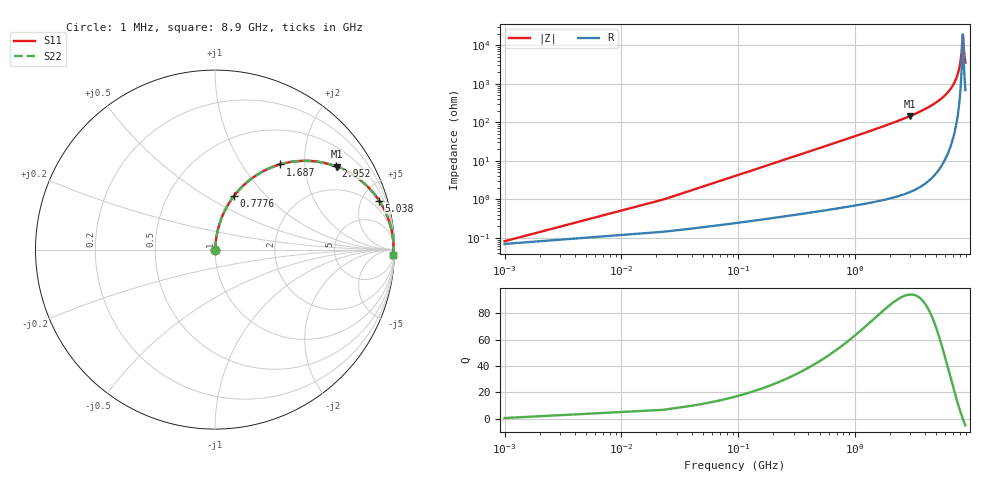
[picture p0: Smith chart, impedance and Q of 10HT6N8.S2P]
! Coilcraft 1008HT-6N8 Chip Inductor
! 16 July 2002
# MHZ S MA R 50
!Freq  MagS11  AngS11  MagS21  AngS21  MagS12  AngS12  MagS22  AngS22
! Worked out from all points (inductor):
!   403 points, 1 MHz to 8.9 GHz, reference 50 ohm
!   read as one part in series: L = 6.8 nH near 45.38 MHz
!   highest Q = 94.1 at 2.997 GHz (marker M1), where L = 7.77 nH
!   self-resonance near 8.455 GHz
!   S11 on the Smith chart (normalised r, x): 1 MHz: 1.00, +0.00; 777.6 MHz: 1.01, +0.67; 1.687 GHz: 1.02, +1.50; 2.952 GHz: 1.03, +2.87; 5.038 GHz: 1.10, +6.67; 8.9 GHz: 15, -69
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1  0.0008161 31.5  0.9993 -0.0  0.9993 -0.0  0.0008161 31.5
67.57  0.02888 84.2  0.9975 -1.7  0.9975 -1.7  0.02888 84.2
111.95  0.04773 84.2  0.9963 -2.7  0.9963 -2.7  0.04773 84.2
156.33  0.06654 83.7  0.9949 -3.8  0.9949 -3.8  0.06654 83.7
378.23  0.1592 79.3  0.983 -9.2  0.983 -9.2  0.1592 79.3
777.65  0.3161 70.5  0.943 -18.4  0.943 -18.4  0.3161 70.5
1487.73  0.5452 56.2  0.8312 -33.0  0.8312 -33.0  0.5452 56.2
1687.44  0.5969 52.6  0.7949 -36.6  0.7949 -36.6  0.5969 52.6
2952.27  0.8166 34.7  0.5686 -54.7  0.5686 -54.7  0.8166 34.7
2974.46  0.8192 34.4  0.5649 -55.0  0.5649 -55.0  0.8192 34.4
2996.65  0.8217 34.1  0.5613 -55.2  0.5613 -55.2  0.8217 34.1
4461.19  0.9313 20.7  0.3529 -68.6  0.3529 -68.6  0.9313 20.7
5038.13  0.954 16.6  0.2862 -72.5  0.2862 -72.5  0.954 16.6
5947.92  0.9767 11.2  0.1946 -77.6  0.1946 -77.6  0.9767 11.2
7434.65  0.9929 4.1  0.07156 -82.2  0.07156 -82.2  0.9929 4.1
7811.88  0.9942 2.5  0.04441 -81.3  0.04441 -81.3  0.9942 2.5
8078.16  0.9947 1.5  0.02617 -77.7  0.02617 -77.7  0.9947 1.5
8233.49  0.9949 0.9  0.01603 -70.8  0.01603 -70.8  0.9949 0.9
8455.39  0.9948 0.0  0.005203 -6.5  0.005203 -6.5  0.9948 0.0
8499.77  0.9948 -0.1  0.00568 23.6  0.00568 23.6  0.9948 -0.1
8721.67  0.9945 -0.9  0.01731 71.1  0.01731 71.1  0.9945 -0.9
8900  0.9941 -1.6  0.02813 77.2  0.02813 77.2  0.9941 -1.6
